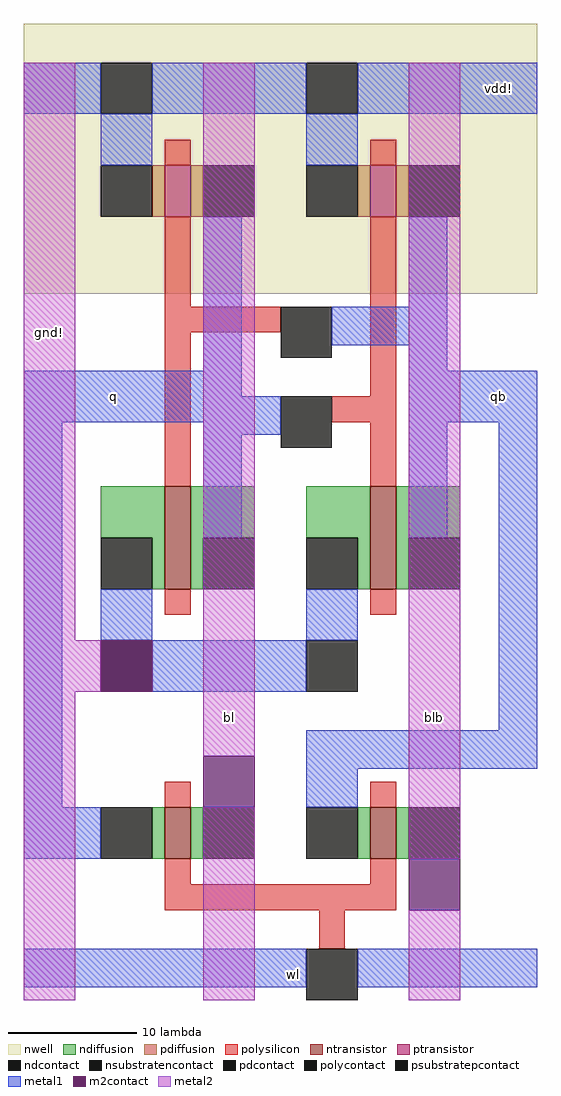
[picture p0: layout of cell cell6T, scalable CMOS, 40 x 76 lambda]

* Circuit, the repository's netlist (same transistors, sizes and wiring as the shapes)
* SPICE3 file created from cell6T.ext - technology: scmos

.option scale=0.1u

M1000 q qb vdd vdd pfet w=4 l=2
+  ad=20 pd=18 as=40 ps=36
M1001 qb q vdd vdd pfet w=4 l=2
+  ad=20 pd=18 as=0 ps=0
M1002 q qb gnd gnd nfet w=8 l=2
+  ad=60 pd=44 as=80 ps=52
M1003 bl wl q gnd nfet w=4 l=2
+  ad=20 pd=18 as=0 ps=0
M1004 qb q gnd gnd nfet w=8 l=2
+  ad=60 pd=44 as=0 ps=0
M1005 blb wl qb gnd nfet w=4 l=2
+  ad=20 pd=18 as=0 ps=0

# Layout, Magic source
magic
tech scmos
<< nwell >>
rect -13 -6 27 15
<< ntransistor >>
rect -2 -29 0 -21
rect 14 -29 16 -21
rect -2 -50 0 -46
rect 14 -50 16 -46
<< ptransistor >>
rect -2 0 0 4
rect 14 0 16 4
<< ndiffusion >>
rect -7 -25 -2 -21
rect -3 -29 -2 -25
rect 0 -25 5 -21
rect 0 -29 1 -25
rect 9 -25 14 -21
rect 13 -29 14 -25
rect 16 -25 21 -21
rect 16 -29 17 -25
rect -3 -50 -2 -46
rect 0 -50 1 -46
rect 13 -50 14 -46
rect 16 -50 17 -46
<< pdiffusion >>
rect -3 0 -2 4
rect 0 0 1 4
rect 13 0 14 4
rect 16 0 17 4
<< ndcontact >>
rect -7 -29 -3 -25
rect 1 -29 5 -25
rect 9 -29 13 -25
rect 17 -29 21 -25
rect -7 -50 -3 -46
rect 1 -50 5 -46
rect 9 -50 13 -46
rect 17 -50 21 -46
<< pdcontact >>
rect -7 0 -3 4
rect 1 0 5 4
rect 9 0 13 4
rect 17 0 21 4
<< psubstratepcontact >>
rect -7 -37 -3 -33
rect 9 -37 13 -33
<< nsubstratencontact >>
rect -7 8 -3 12
rect 9 8 13 12
<< polysilicon >>
rect -2 4 0 6
rect 14 4 16 6
rect -2 -7 0 0
rect -2 -9 7 -7
rect -2 -21 0 -9
rect 14 -14 16 0
rect 11 -16 16 -14
rect 14 -21 16 -16
rect -2 -31 0 -29
rect 14 -31 16 -29
rect -2 -46 0 -44
rect 14 -46 16 -44
rect -2 -52 0 -50
rect 14 -52 16 -50
rect -2 -54 16 -52
rect 10 -57 12 -54
<< polycontact >>
rect 7 -11 11 -7
rect 7 -18 11 -14
rect 9 -61 13 -57
<< metal1 >>
rect -13 8 -7 12
rect -3 8 9 12
rect 13 8 27 12
rect -7 4 -3 8
rect 9 4 13 8
rect 1 -12 4 0
rect 17 -7 20 0
rect 11 -10 20 -7
rect -13 -14 4 -12
rect 17 -12 20 -10
rect -13 -16 7 -14
rect -13 -46 -10 -16
rect 1 -17 7 -16
rect 1 -25 4 -17
rect 17 -16 27 -12
rect 17 -25 20 -16
rect -7 -33 -3 -29
rect 9 -33 13 -29
rect -3 -37 9 -33
rect 24 -40 27 -16
rect -13 -50 -7 -46
rect 9 -43 27 -40
rect 9 -46 13 -43
rect -13 -60 9 -57
rect 13 -60 27 -57
<< m2contact >>
rect -7 -37 -3 -33
rect 1 -46 5 -42
rect 17 -54 21 -50
<< metal2 >>
rect -13 -33 -9 12
rect -13 -37 -7 -33
rect -13 -61 -9 -37
rect 1 -42 5 12
rect 1 -61 5 -46
rect 17 -50 21 12
rect 17 -61 21 -54
<< labels >>
rlabel metal1 24 10 24 10 6 vdd!
rlabel metal2 -11 -9 -11 -9 3 gnd!
rlabel metal1 -6 -14 -6 -14 1 q
rlabel metal1 24 -14 24 -14 7 qb
rlabel metal2 3 -39 3 -39 1 bl
rlabel metal2 19 -39 19 -39 1 blb
rlabel metal1 8 -59 8 -59 1 wl
<< end >>
